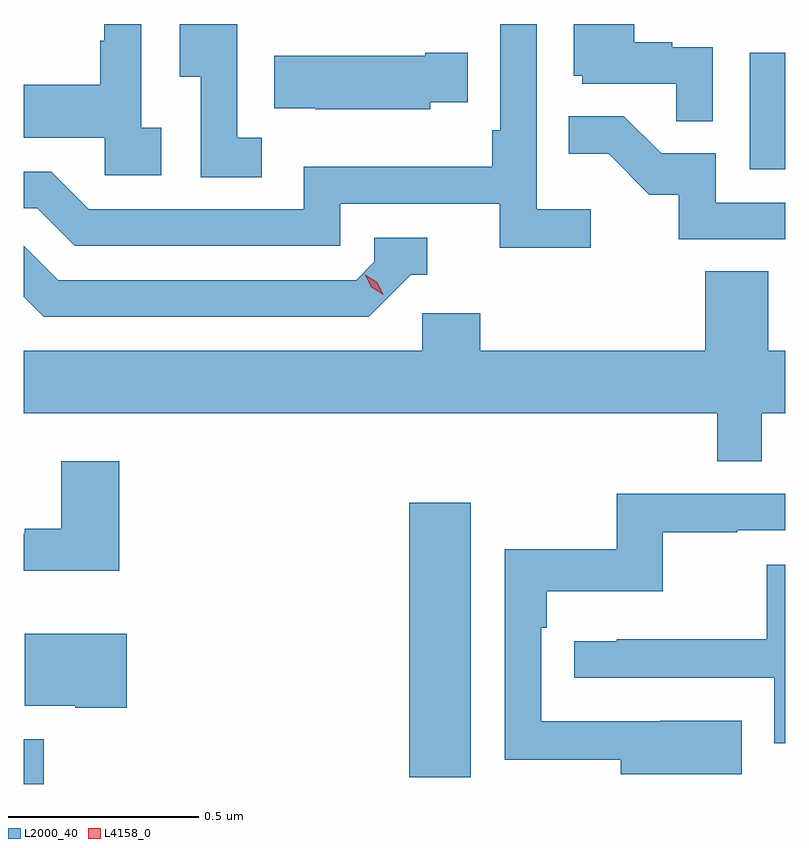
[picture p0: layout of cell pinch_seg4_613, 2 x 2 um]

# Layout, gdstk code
import gdstk
lib = gdstk.Library(unit=1e-6, precision=1e-09)
def R(c, l, rs):  # rectangles x0, y0, x1, y1
    for r in rs: c.add(gdstk.rectangle(r[:2], r[2:], *l))
def P(c, l, *ps):  # polygons
    for p in ps: c.add(gdstk.Polygon(p, *l))
L2000_40 = (2000, 40)
L4158_0 = (4158, 0)

pinch_seg4_613 = lib.new_cell('pinch_seg4_613')
R(pinch_seg4_613, L2000_40, [(1056.561,774.534,1056.614,774.652), (1057.574,774.552,1057.735,775.273), (1058.468,776.148,1058.561,776.455)])
P(pinch_seg4_613, L2000_40, [(1058.05,776.044),(1057.908,776.044),(1057.908,776.53),(1057.812,776.53),(1057.812,776.251),(1057.792,776.251),(1057.792,776.155),(1057.296,776.155),(1057.296,776.043),(1056.732,776.043),(1056.633,776.142),(1056.561,776.142),(1056.561,776.046),(1056.596,776.046),(1056.695,775.947),(1057.392,775.947),(1057.392,776.058),(1057.811,776.058),(1057.811,775.942),(1058.05,775.942)],
  [(1057.186,776.231),(1057.122,776.231),(1057.122,776.53),(1056.971,776.53),(1056.971,776.392),(1057.026,776.392),(1057.026,776.128),(1057.186,776.128)],
  [(1056.922,776.258),(1056.87,776.258),(1056.87,776.53),(1056.772,776.53),(1056.772,776.486),(1056.762,776.486),(1056.762,776.371),(1056.561,776.371),(1056.561,776.231),(1056.774,776.231),(1056.774,776.133),(1056.922,776.133)],
  [(1058.37,776.469),(1058.264,776.469),(1058.264,776.482),(1058.164,776.482),(1058.164,776.53),(1058.006,776.53),(1058.006,776.394),(1058.028,776.394),(1058.028,776.373),(1058.275,776.373),(1058.275,776.275),(1058.37,776.275)],
  [(1057.629,776.324),(1057.727,776.324),(1057.727,776.454),(1057.616,776.454),(1057.616,776.446),(1057.219,776.446),(1057.219,776.309),(1057.327,776.309),(1057.327,776.306),(1057.629,776.306)],
  [(1058.561,776.061),(1058.379,776.061),(1058.379,776.19),(1058.235,776.19),(1058.137,776.288),(1057.993,776.288),(1057.993,776.189),(1058.097,776.189),(1058.204,776.082),(1058.281,776.082),(1058.281,775.965),(1058.561,775.965)],
  [(1057.578,775.872),(1057.621,775.872),(1057.621,775.968),(1057.482,775.968),(1057.482,775.905),(1057.434,775.857),(1056.651,775.857),(1056.561,775.947),(1056.561,775.814),(1056.614,775.761),(1057.467,775.761)],
  [(1058.499,775.508),(1058.561,775.508),(1058.561,775.672),(1058.516,775.672),(1058.516,775.88),(1058.351,775.88),(1058.351,775.672),(1057.76,775.672),(1057.76,775.77),(1057.608,775.77),(1057.608,775.672),(1056.561,775.672),(1056.561,775.508),(1058.383,775.508),(1058.383,775.381),(1058.499,775.381)],
  [(1056.812,775.381),(1056.659,775.381),(1056.659,775.204),(1056.563,775.204),(1056.563,775.191),(1056.561,775.191),(1056.561,775.094),(1056.812,775.094)],
  [(1058.447,774.7),(1058.233,774.7),(1058.233,774.699),(1057.92,774.699),(1057.92,774.944),(1057.934,774.944),(1057.934,775.04),(1058.239,775.04),(1058.239,775.195),(1058.435,775.195),(1058.435,775.2),(1058.561,775.2),(1058.561,775.296),(1058.118,775.296),(1058.118,775.15),(1057.824,775.15),(1057.824,774.598),(1058.129,774.598),(1058.129,774.56),(1058.447,774.56)],
  [(1058.561,775.11),(1058.512,775.11),(1058.512,774.914),(1058.119,774.914),(1058.119,774.909),(1058.007,774.909),(1058.007,774.813),(1058.532,774.813),(1058.532,774.641),(1058.561,774.641)],
  [(1056.832,774.928),(1056.563,774.928),(1056.563,774.74),(1056.696,774.74),(1056.696,774.734),(1056.832,774.734)])
P(pinch_seg4_613, L4158_0, [(1057.505,775.819),(1057.474,775.838),(1057.458,775.871),(1057.458,775.871),(1057.458,775.871),(1057.489,775.852),(1057.505,775.82),(1057.505,775.819)])

lib.write_gds('pinch_seg4_613.gds')
